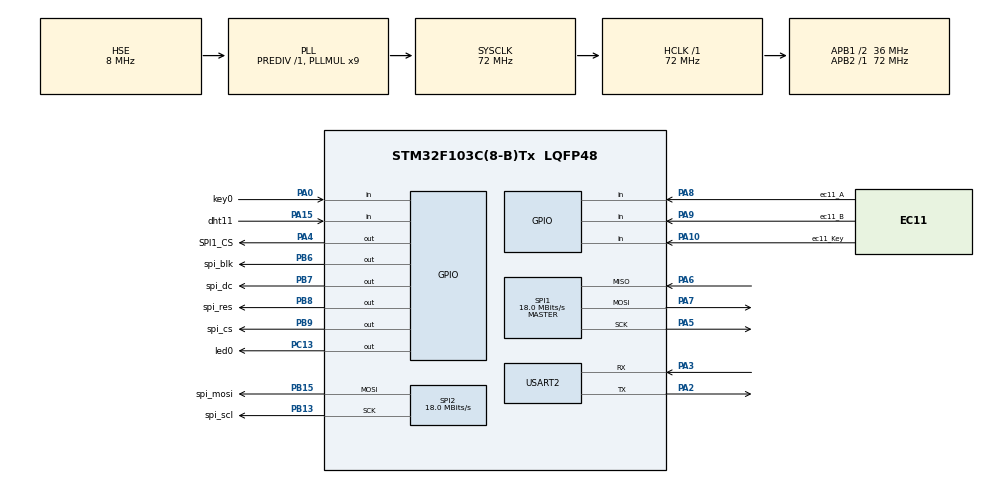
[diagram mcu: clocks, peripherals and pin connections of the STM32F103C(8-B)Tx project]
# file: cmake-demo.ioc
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Dma.Request0=USART2_RX
Dma.Request1=SPI2_TX
Dma.Request2=SPI1_RX
Dma.Request3=SPI1_TX
Dma.SPI1_RX.2.Direction=DMA_PERIPH_TO_MEMORY
Dma.SPI1_RX.2.Instance=DMA1_Channel2
Dma.SPI1_RX.2.MemDataAlignment=DMA_MDATAALIGN_BYTE
Dma.SPI1_RX.2.MemInc=DMA_MINC_ENABLE
Dma.SPI1_RX.2.Mode=DMA_NORMAL
Dma.SPI1_RX.2.PeriphDataAlignment=DMA_PDATAALIGN_BYTE
Dma.SPI1_RX.2.PeriphInc=DMA_PINC_DISABLE
Dma.SPI1_RX.2.Priority=DMA_PRIORITY_LOW
Dma.SPI1_TX.3.Direction=DMA_MEMORY_TO_PERIPH
Dma.SPI1_TX.3.Instance=DMA1_Channel3
Dma.SPI1_TX.3.MemDataAlignment=DMA_MDATAALIGN_BYTE
Dma.SPI1_TX.3.MemInc=DMA_MINC_ENABLE
Dma.SPI1_TX.3.Mode=DMA_NORMAL
Dma.SPI1_TX.3.PeriphDataAlignment=DMA_PDATAALIGN_BYTE
Dma.SPI1_TX.3.PeriphInc=DMA_PINC_DISABLE
Dma.SPI1_TX.3.Priority=DMA_PRIORITY_LOW
Dma.SPI2_TX.1.Direction=DMA_MEMORY_TO_PERIPH
Dma.SPI2_TX.1.Instance=DMA1_Channel5
Dma.SPI2_TX.1.MemDataAlignment=DMA_MDATAALIGN_BYTE
Dma.SPI2_TX.1.MemInc=DMA_MINC_ENABLE
Dma.SPI2_TX.1.Mode=DMA_NORMAL
Dma.SPI2_TX.1.PeriphDataAlignment=DMA_PDATAALIGN_BYTE
Dma.SPI2_TX.1.PeriphInc=DMA_PINC_DISABLE
Dma.SPI2_TX.1.Priority=DMA_PRIORITY_LOW
Dma.USART2_RX.0.Direction=DMA_PERIPH_TO_MEMORY
Dma.USART2_RX.0.Instance=DMA1_Channel6
Dma.USART2_RX.0.MemDataAlignment=DMA_MDATAALIGN_BYTE
Dma.USART2_RX.0.MemInc=DMA_MINC_ENABLE
Dma.USART2_RX.0.Mode=DMA_NORMAL
Dma.USART2_RX.0.PeriphDataAlignment=DMA_PDATAALIGN_BYTE
Dma.USART2_RX.0.PeriphInc=DMA_PINC_DISABLE
Dma.USART2_RX.0.Priority=DMA_PRIORITY_LOW
Mcu.Family=STM32F1
Mcu.Name=STM32F103C(8-B)Tx
Mcu.Package=LQFP48
NVIC.DMA1_Channel2_IRQn=true\:0\:0\:false\:false\:true\:false\:true\:true
NVIC.DMA1_Channel3_IRQn=true\:0\:0\:false\:false\:true\:false\:true\:true
NVIC.DMA1_Channel5_IRQn=true\:0\:0\:false\:false\:true\:false\:true\:true
NVIC.DMA1_Channel6_IRQn=true\:0\:0\:false\:false\:true\:false\:true\:true
NVIC.PriorityGroup=NVIC_PRIORITYGROUP_4
NVIC.SPI1_IRQn=true\:0\:0\:false\:false\:true\:true\:true\:true
NVIC.SPI2_IRQn=true\:0\:0\:false\:false\:true\:true\:true\:true
NVIC.TIM4_IRQn=true\:0\:0\:false\:false\:true\:true\:true\:true
NVIC.USART2_IRQn=true\:0\:0\:false\:false\:true\:true\:true\:true
PA0-WKUP.GPIO_Label=key0
PA0-WKUP.GPIO_PuPd=GPIO_PULLDOWN
PA0-WKUP.Signal=GPIO_Input
PA10.GPIO_Label=ec11_Key
PA10.GPIO_PuPd=GPIO_PULLUP
PA10.Signal=GPIO_Input
PA13.Mode=Serial_Wire
PA13.Signal=SYS_JTMS-SWDIO
PA14.Mode=Serial_Wire
PA14.Signal=SYS_JTCK-SWCLK
PA15.GPIO_Label=dht11
PA15.GPIO_PuPd=GPIO_NOPULL
PA15.Signal=GPIO_Input
PA2.Mode=Asynchronous
PA2.Signal=USART2_TX
PA3.Mode=Asynchronous
PA3.Signal=USART2_RX
PA4.GPIO_Label=SPI1_CS
PA4.GPIO_PuPd=GPIO_PULLUP
PA4.PinState=GPIO_PIN_SET
PA4.Signal=GPIO_Output
PA5.Mode=Full_Duplex_Master
PA5.Signal=SPI1_SCK
PA6.Mode=Full_Duplex_Master
PA6.Signal=SPI1_MISO
PA7.Mode=Full_Duplex_Master
PA7.Signal=SPI1_MOSI
PA8.GPIO_Label=ec11_A
PA8.GPIO_PuPd=GPIO_PULLUP
PA8.Signal=GPIO_Input
PA9.GPIO_Label=ec11_B
PA9.GPIO_PuPd=GPIO_PULLUP
PA9.Signal=GPIO_Input
PB13.GPIO_Label=spi_scl
PB13.Mode=TX_Only_Simplex_Unidirect_Master
PB13.Signal=SPI2_SCK
PB15.GPIO_Label=spi_mosi
PB15.Mode=TX_Only_Simplex_Unidirect_Master
PB15.Signal=SPI2_MOSI
PB6.GPIO_Label=spi_blk
PB6.GPIO_PuPd=GPIO_PULLUP
PB6.PinState=GPIO_PIN_SET
PB6.Signal=GPIO_Output
PB7.GPIO_Label=spi_dc
PB7.PinState=GPIO_PIN_SET
PB7.Signal=GPIO_Output
PB8.GPIO_Label=spi_res
PB8.PinState=GPIO_PIN_SET
PB8.Signal=GPIO_Output
PB9.GPIO_Label=spi_cs
PB9.PinState=GPIO_PIN_SET
PB9.Signal=GPIO_Output
PC13-TAMPER-RTC.GPIO_Label=led0
PC13-TAMPER-RTC.GPIO_PuPd=GPIO_NOPULL
PC13-TAMPER-RTC.PinState=GPIO_PIN_SET
PC13-TAMPER-RTC.Signal=GPIO_Output
PD0-OSC_IN.Mode=HSE-External-Oscillator
PD0-OSC_IN.Signal=RCC_OSC_IN
PD1-OSC_OUT.Mode=HSE-External-Oscillator
PD1-OSC_OUT.Signal=RCC_OSC_OUT
ProjectManager.HeapSize=0x200
ProjectManager.StackSize=0x400
ProjectManager.TargetToolchain=CMake
RCC.AHBFreq_Value=72000000
RCC.APB1CLKDivider=RCC_HCLK_DIV2
RCC.APB1Freq_Value=36000000
RCC.APB1TimFreq_Value=72000000
RCC.APB2Freq_Value=72000000
RCC.APB2TimFreq_Value=72000000
RCC.HCLKFreq_Value=72000000
RCC.PLLMUL=RCC_PLL_MUL9
RCC.PLLSourceVirtual=RCC_PLLSOURCE_HSE
RCC.SYSCLKFreq_VALUE=72000000
RCC.SYSCLKSource=RCC_SYSCLKSOURCE_PLLCLK
RCC.USBFreq_Value=72000000
SPI1.BaudRatePrescaler=SPI_BAUDRATEPRESCALER_4
SPI1.CalculateBaudRate=18.0 MBits/s
SPI1.Direction=SPI_DIRECTION_2LINES
SPI1.Mode=SPI_MODE_MASTER
SPI1.VirtualType=VM_MASTER
SPI2.CalculateBaudRate=18.0 MBits/s
SPI2.Direction=SPI_DIRECTION_2LINES
SPI2.Mode=SPI_MODE_MASTER
SPI2.VirtualType=VM_MASTER
TIM4.Period=10 - 1
TIM4.Prescaler=7200 - 1
USART2.VirtualMode=VM_ASYNC
VP_TIM4_VS_ClockSourceINT.Mode=Internal
board=custom

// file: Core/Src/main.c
/* USER CODE BEGIN Header */
/**
 ******************************************************************************
 * @file           : main.c
 * @brief          : Main program body
 ******************************************************************************
 * @attention
 *
 * Copyright (c) 2025 STMicroelectronics.
 * All rights reserved.
 *
 * This software is licensed under terms that can be found in the LICENSE file
 * in the root directory of this software component.
 * If no LICENSE file comes with this software, it is provided AS-IS.
 *
 ******************************************************************************
 */
/* USER CODE END Header */
#include "main.h"
#include "dma.h"
#include "gpio.h"
#include "spi.h"
#include "tim.h"
#include "usart.h"

/* USER CODE BEGIN Includes */
#include "dht11.h"
#include "ec11.h"
#include "load_image.h"
#include "process_command.h"
#include "process_key.h"
#include "process_render.h"
#include "protocol.h"
#include "st7735s.h"
#include "timer3.h"
#include <stdio.h>
#include <string.h>
/* USER CODE END Includes */

void SystemClock_Config(void);

/* USER CODE BEGIN 0 */
static uint32_t timerCounter = 0;
void HAL_TIM_PeriodElapsedCallback(TIM_HandleTypeDef *htim)
{
    (void)htim;
    timerCounter++;
    // HAL_GPIO_TogglePin(testIO_GPIO_Port, testIO_Pin);
    Ec11StateMachineProcess();
    Dht11Process();
}

void ProcessDth11()
{
    static uint32_t lastTick = 0;
    uint32_t currentTick = HAL_GetTick();
    if (currentTick - lastTick < 1000) {
        return;
    }
    lastTick = currentTick;

    Dht11Result result;
    GetDht11Result(&result);
    // static char message[100];
    UartPrintf("humidity: %.2f, temperature: %.2f\n", result.humidity,
               result.temperature);
    // send_data_safely(message, strlen(message));
}
/* USER CODE END 0 */

int main(void)
{

    /* MCU
     * Configuration--------------------------------------------------------*/

    /* Reset of all peripherals, Initializes the Flash interface and the
     * Systick. */
    HAL_Init();

    /* Configure the system clock */
    SystemClock_Config();

    /* Initialize all configured peripherals */
    MX_GPIO_Init();
    MX_DMA_Init();
    MX_USART2_UART_Init();
    MX_TIM4_Init();
    MX_SPI2_Init();
    MX_SPI1_Init();
    /* USER CODE BEGIN 2 */
    HAL_TIM_Base_Start_IT(&htim4);
    TIM3_Init();
    Ec11EncoderInit();
    LcdInit();
    ProtocolInit(GetProtocolDecoder());
    LoadImageInit();
    /* USER CODE END 2 */

    /* Infinite loop */
    /* USER CODE BEGIN WHILE */
    while (1) {
        ProcessKey();
        ProcessDth11();
        ProcessRender();
        ProcessCommand();
        /* USER CODE END WHILE */

        /* USER CODE BEGIN 3 */
        // printf("nihaode %.02f", 3.141);
    }
    /* USER CODE END 3 */
}

void SystemClock_Config(void)
{
    RCC_OscInitTypeDef RCC_OscInitStruct = {0};
    RCC_ClkInitTypeDef RCC_ClkInitStruct = {0};

    /** Initializes the RCC Oscillators according to the specified parameters
     * in the RCC_OscInitTypeDef structure.
     */
    RCC_OscInitStruct.OscillatorType = RCC_OSCILLATORTYPE_HSE;
    RCC_OscInitStruct.HSEState = RCC_HSE_ON;
    RCC_OscInitStruct.HSEPredivValue = RCC_HSE_PREDIV_DIV1;
    RCC_OscInitStruct.HSIState = RCC_HSI_ON;
    RCC_OscInitStruct.PLL.PLLState = RCC_PLL_ON;
    RCC_OscInitStruct.PLL.PLLSource = RCC_PLLSOURCE_HSE;
    RCC_OscInitStruct.PLL.PLLMUL = RCC_PLL_MUL9;
    if (HAL_RCC_OscConfig(&RCC_OscInitStruct) != HAL_OK) {
        Error_Handler();
    }

    /** Initializes the CPU, AHB and APB buses clocks
     */
    RCC_ClkInitStruct.ClockType = RCC_CLOCKTYPE_HCLK | RCC_CLOCKTYPE_SYSCLK |
                                  RCC_CLOCKTYPE_PCLK1 | RCC_CLOCKTYPE_PCLK2;
    RCC_ClkInitStruct.SYSCLKSource = RCC_SYSCLKSOURCE_PLLCLK;
    RCC_ClkInitStruct.AHBCLKDivider = RCC_SYSCLK_DIV1;
    RCC_ClkInitStruct.APB1CLKDivider = RCC_HCLK_DIV2;
    RCC_ClkInitStruct.APB2CLKDivider = RCC_HCLK_DIV1;

    if (HAL_RCC_ClockConfig(&RCC_ClkInitStruct, FLASH_LATENCY_2) != HAL_OK) {
        Error_Handler();
    }
}

void Error_Handler(void)
{
    /* USER CODE BEGIN Error_Handler_Debug */
    /* User can add his own implementation to report the HAL error return state
     */
    __disable_irq();
    while (1) {
    }
    /* USER CODE END Error_Handler_Debug */
}

#ifdef USE_FULL_ASSERT
/**
 * @brief  Reports the name of the source file and the source line number
 *         where the assert_param error has occurred.
 * @param  file: pointer to the source file name
 * @param  line: assert_param error line source number
 * @retval None
 */
void assert_failed(uint8_t *file, uint32_t line)
{
    /* USER CODE BEGIN 6 */
    /* User can add his own implementation to report the file name and line
       number, ex: printf("Wrong parameters value: file %s on line %d\r\n",
       file, line) */
    /* USER CODE END 6 */
}
#endif /* USE_FULL_ASSERT */
